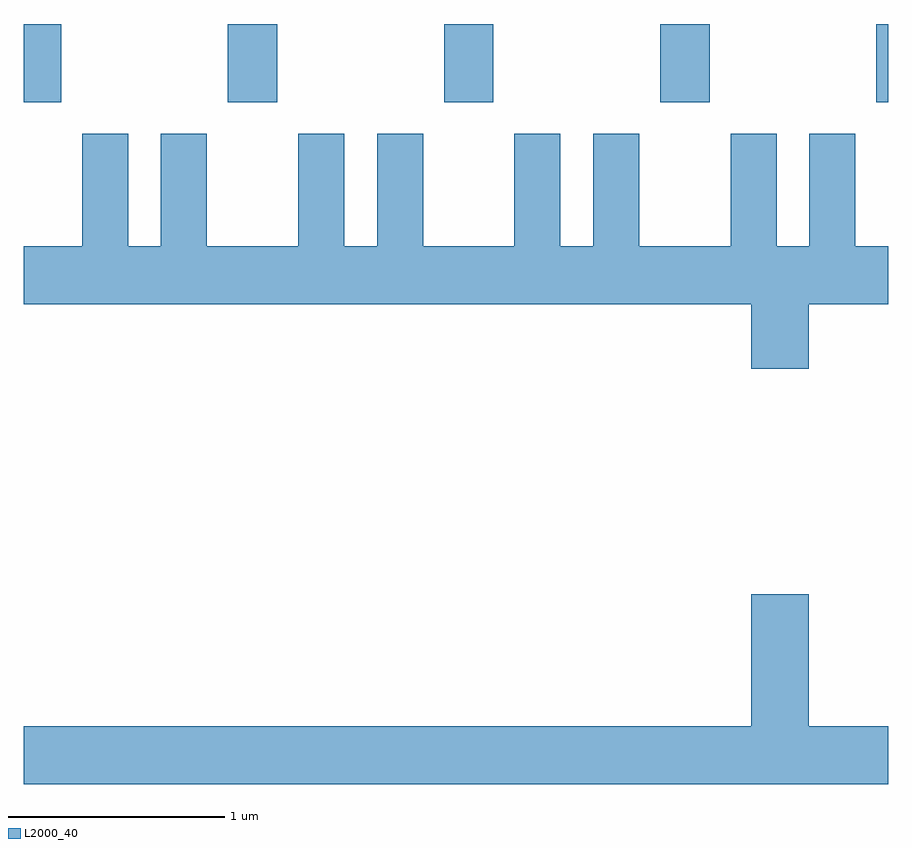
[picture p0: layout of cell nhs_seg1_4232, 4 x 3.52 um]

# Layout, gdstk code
import gdstk
lib = gdstk.Library(unit=1e-6, precision=1e-09)
def R(c, l, rs):  # rectangles x0, y0, x1, y1
    for r in rs: c.add(gdstk.rectangle(r[:2], r[2:], *l))
def A(c, l, x, y, w, h, nx, ny, dx, dy):  # array of equal rectangles
    R(c, l, [(x+i*dx, y+j*dy, x+i*dx+w, y+j*dy+h) for i in range(nx) for j in range(ny)])
def P(c, l, *ps):  # polygons
    for p in ps: c.add(gdstk.Polygon(p, *l))
L2000_40 = (2000, 40)

nhs_seg1_4232 = lib.new_cell('nhs_seg1_4232')
A(nhs_seg1_4232, L2000_40, 312.556, 949.351, 0.228, 0.361, 3, 1, 1, 0)
R(nhs_seg1_4232, L2000_40, [(311.611,949.351,311.784,949.712), (315.556,949.351,315.611,949.712)])
P(nhs_seg1_4232, L2000_40, [(311.881,949.204),(311.881,948.684),(311.611,948.684),(311.611,948.416),(314.976,948.416),(314.976,948.116),(315.244,948.116),(315.244,948.416),(315.611,948.416),(315.611,948.684),(315.459,948.684),(315.459,949.204),(315.246,949.204),(315.246,948.684),(315.094,948.684),(315.094,949.204),(314.881,949.204),(314.881,948.684),(314.459,948.684),(314.459,949.204),(314.246,949.204),(314.246,948.684),(314.094,948.684),(314.094,949.204),(313.881,949.204),(313.881,948.684),(313.459,948.684),(313.459,949.204),(313.246,949.204),(313.246,948.684),(313.094,948.684),(313.094,949.204),(312.881,949.204),(312.881,948.684),(312.459,948.684),(312.459,949.204),(312.246,949.204),(312.246,948.684),(312.094,948.684),(312.094,949.204)],
  [(315.611,946.464),(315.244,946.464),(315.244,947.074),(314.976,947.074),(314.976,946.464),(311.611,946.464),(311.611,946.196),(315.611,946.196)])

lib.write_gds('nhs_seg1_4232.gds')
